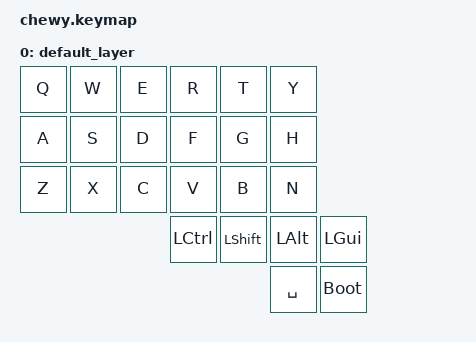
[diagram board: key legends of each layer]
#include <behaviors.dtsi>
#include <dt-bindings/zmk/keys.h>

/ {
    keymap {
        compatible = "zmk,keymap";

        default_layer { // Layer 0
            // -------------------------------------
            // |     Q     |     W     |     E     |     R     |     T     |     Y     |
            // |     A     |     S     |     D     |     F     |     G     |     H     |
            // |     Z     |     X     |     C     |     V     |     B     |     N     |
            //                                     |  LCTRL    |  LSHIFT   |  LALT     |  LGUI     |
            //                                                             |  SPACE    |  SPACE    |
            bindings = <
                &kp Q      &kp W      &kp E     &kp R     &kp T     &kp Y
                &kp A      &kp S      &kp D     &kp F     &kp G     &kp H
                &kp Z      &kp X      &kp C     &kp V     &kp B     &kp N
                                                &kp LCTRL &kp LSHIFT &kp LALT &kp LGUI
                                                                     &kp SPACE &bootloader
            >;
        };
    };
};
